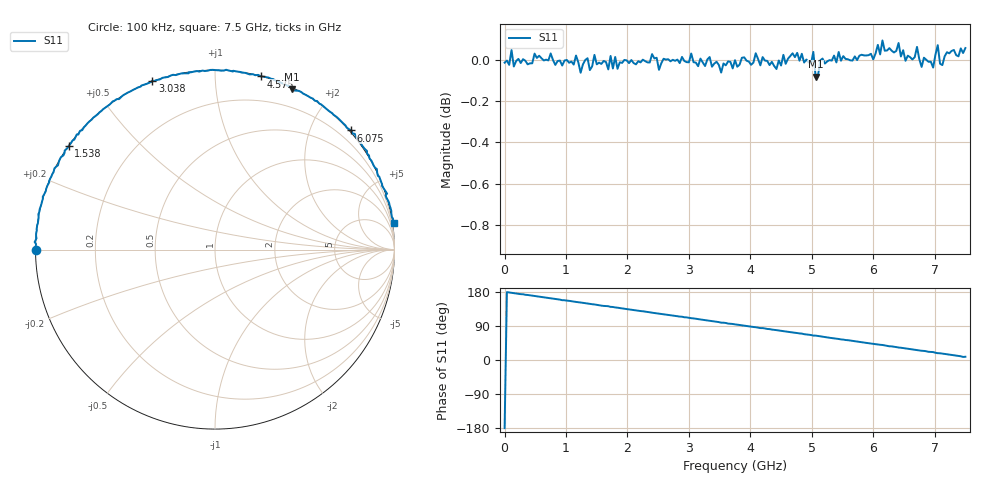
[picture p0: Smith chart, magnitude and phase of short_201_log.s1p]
# Hz S DB R 50.000000
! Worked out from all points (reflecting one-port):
!   201 points, 100 kHz to 7.5 GHz, reference 50 ohm
!   lowest |S11| = -0.1 dB at 5.062 GHz (marker M1), VSWR 214.93, Z = 0.819 + j79.4 ohm
!   phase of S11 starts at -180 deg and turns -172 deg over the sweep
!   S11 on the Smith chart (normalised r, x): 100 kHz: 0.00, -0.00; 1.538 GHz: 0.00, +0.32; 3.038 GHz: -0.00, +0.70; 4.575 GHz: 0.00, +1.30; 6.075 GHz: -0.03, +2.66; 7.5 GHz: -1, +13
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100000  -0.01 -179.8
4.87587e8  0.03 168.7
9.37575e8  -0.03 157.8
1.162569e9  0.02 153.2
1.537559e9  -0.01 144.6
1.87505e9  -0.01 137.0
2.400036e9  0.03 124.6
2.812525e9  0.00 115.6
3.037519e9  0.03 110.3
3.75e9  -0.00 94.0
4.087491e9  0.03 86.5
4.574978e9  -0.02 75.2
4.687475e9  0.03 72.7
4.987467e9  -0.02 65.9
5.024966e9  0.04 64.5
5.062465e9  -0.08 64.4
5.174962e9  0.01 61.3
5.62495e9  -0.00 51.4
6.074938e9  0.07 41.2
6.562425e9  0.02 29.7
6.824918e9  0.01 24.0
6.899916e9  -0.01 21.6
6.974914e9  -0.04 20.9
7.049912e9  0.07 18.0
7.087411e9  -0.02 17.8
7.424902e9  0.06 9.9
7.462401e9  0.03 8.0
7.4999e9  0.06 8.6
